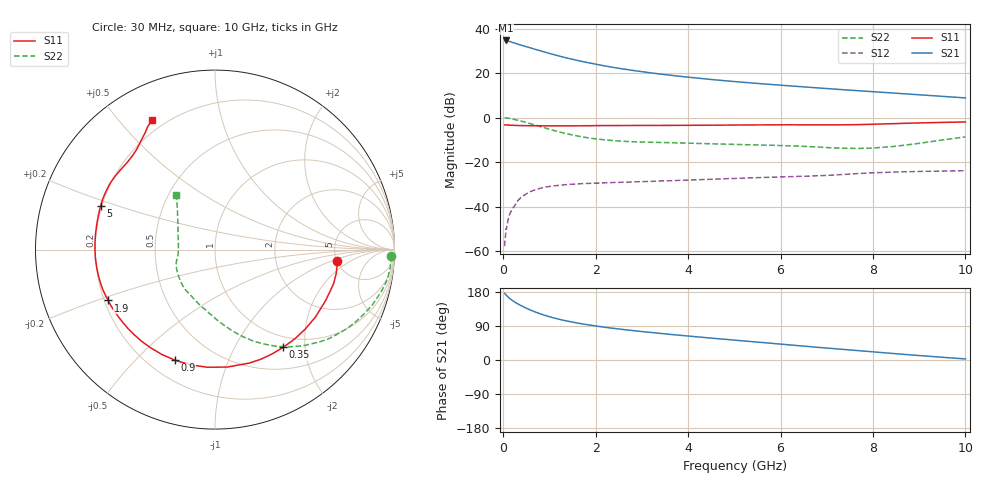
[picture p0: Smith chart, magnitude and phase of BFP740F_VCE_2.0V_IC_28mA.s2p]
! Infineon Technologies  Discrete & RF Semiconductors
! BFP740F
! VCE =  2.0 V,  IC =  28 mA
! Common Emitter S-Parameters:  Oct 2012
# GHz  S  MA  R  50
!  f  S11  S21  S12  S22
! GHz  MAG  ANG  MAG  ANG  MAG  ANG  MAG  ANG
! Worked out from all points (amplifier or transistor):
!   99 points, 30 MHz to 10 GHz, reference 50 ohm
!   highest |S21| = 34.7 dB at 50 MHz (marker M1)
!   |S21| within 3 dB of that: start of sweep to 533.8 MHz
!   unconditionally stable (mu >= 1): 5.344 GHz to end of sweep
!   at 350 MHz: K = 0.17, MSG = 34.7 dB, |S12| = -36.5 dB
!   at 3.5 GHz: K = 0.78, MSG = 23.9 dB, |S12| = -28.4 dB
!   at 10 GHz: K = 1.18, MAG = 13.8 dB, |S12| = -23.8 dB
!   S11 on the Smith chart (normalised r, x): 30 MHz: 5.03, -1.24; 350 MHz: 0.82, -1.60; 900 MHz: 0.30, -0.66; 1.9 GHz: 0.21, -0.22; 5 GHz: 0.20, +0.18; 10 GHz: 0.15, +0.62
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0.03  0.6849 -5.5  53.64 175.8  0.0013 89.3  0.9791 -2.1
0.05  0.6864 -8.9  54.12 173.2  0.0022 106.5  0.9816 -4.4
0.08  0.6872 -14.3  53.68 169.4  0.0037 79.5  0.9774 -7.7
0.13  0.6791 -23.0  51.49 163.4  0.0064 81.3  0.9609 -12.8
0.2  0.6741 -33.9  48.89 156.8  0.009 75.4  0.9302 -19.2
0.25  0.67 -41.3  47.15 152.8  0.0106 73.0  0.9049 -23.3
0.35  0.6641 -55.1  43.56 145.7  0.0149 66.2  0.8561 -31.0
0.45  0.6622 -67.4  40.66 139.6  0.018 60.8  0.8054 -38.0
0.6  0.658 -84.0  36.6 131.3  0.0221 54.1  0.7269 -47.5
0.7  0.6569 -93.6  34.05 126.4  0.0242 49.9  0.6783 -53.1
0.9  0.6553 -109.9  29.66 117.9  0.0275 43.4  0.5885 -63.1
1.1  0.654 -122.9  25.94 110.8  0.0294 38.7  0.5134 -71.7
1.3  0.6539 -133.2  22.88 104.9  0.0309 35.3  0.4535 -79.1
1.7  0.6564 -148.7  18.33 95.6  0.0329 31.0  0.3707 -91.9
1.9  0.6597 -154.6  16.63 91.7  0.0336 29.7  0.3436 -97.8
2.6  0.6659 -169.9  12.37 80.4  0.0356 27.2  0.2953 -114.8
3.4  0.6692 178.0  9.529 70.2  0.0379 26.9  0.2772 -127.0
5  0.6822 158.9  6.468 52.5  0.0431 27.3  0.2507 -143.9
5.1  0.6837 157.9  6.338 51.4  0.0435 27.2  0.2493 -145.2
6.7  0.6891 141.2  4.738 34.6  0.0491 27.4  0.2216 -164.5
8.5  0.736 123.8  3.535 16.5  0.0602 23.7  0.2279 154.6
10  0.8005 115.9  2.775 2.8  0.0642 18.1  0.3703 125.4
